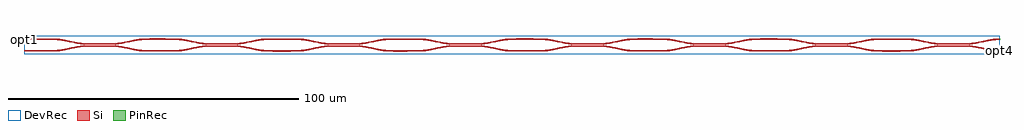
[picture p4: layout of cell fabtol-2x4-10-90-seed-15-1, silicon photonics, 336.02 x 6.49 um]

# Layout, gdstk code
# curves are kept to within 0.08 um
import gdstk
lib = gdstk.Library(unit=1e-6, precision=1e-09)
def R(c, l, rs):  # rectangles x0, y0, x1, y1
    for r in rs: c.add(gdstk.rectangle(r[:2], r[2:], *l))
def P(c, l, *ps):  # polygons
    for p in ps: c.add(gdstk.Polygon(p, *l))
Si = (1, 0)
PinRec = (1, 10)
DevRec = (68, 0)

layer_3_0_phase_sec_3_44 = lib.new_cell('layer-3_0_phase_sec_3$44')
P(layer_3_0_phase_sec_3_44, Si, [(1.539,-0.245),(0,-0.225),(0,0.225),(10,0.225),(10,-0.225)])

layer_3_0_phase_sec_2_44 = lib.new_cell('layer-3_0_phase_sec_2$44')
P(layer_3_0_phase_sec_2_44, Si, [(1.18,-0.235),(0,-0.225),(0,0.225),(10,0.225),(10,-0.225)])

layer_3_0_phase_sec_1_44 = lib.new_cell('layer-3_0_phase_sec_1$44')
P(layer_3_0_phase_sec_1_44, Si, [(1.449,-0.233),(0,-0.225),(0,0.225),(10,0.225),(10,-0.225)])

layer_3_0_phase_sec_0_44 = lib.new_cell('layer-3_0_phase_sec_0$44')
P(layer_3_0_phase_sec_0_44, Si, [(1.48,-0.244),(0,-0.225),(0,0.225),(10,0.225),(10,-0.225)])

layer_0_0_phase_sec_3_44 = lib.new_cell('layer-0_0_phase_sec_3$44')
P(layer_0_0_phase_sec_3_44, Si, [(3.383,-0.235),(0,-0.225),(0,0.225),(10,0.225),(10,-0.225)])

layer_1_0_phase_sec_0_44 = lib.new_cell('layer-1_0_phase_sec_0$44')
P(layer_1_0_phase_sec_0_44, Si, [(6.172,-0.232),(0,-0.225),(0,0.225),(10,0.225),(10,-0.225)])

dc_arm_down_44 = lib.new_cell('dc_arm_down$44')
R(dc_arm_down_44, Si, [(12,-0.55,20,-0.1)])
P(dc_arm_down_44, Si, [(32,-2.225),(30.861,-2.188),(29.344,-2.033),(22.966,-0.793),(21.481,-0.613),(20,-0.55),(20,-0.1),(21.139,-0.137),(22.656,-0.292),(29.034,-1.532),(30.519,-1.712),(32,-1.775)],
  [(0,-2.225),(0,-1.775),(1.481,-1.712),(2.966,-1.532),(9.344,-0.292),(10.861,-0.137),(12,-0.1),(12,-0.55),(10.519,-0.613),(9.034,-0.793),(2.656,-2.033),(1.139,-2.188)])

dc_arm_up_44 = lib.new_cell('dc_arm_up$44')
R(dc_arm_up_44, Si, [(12,0.1,20,0.55)])
P(dc_arm_up_44, Si, [(20,0.1),(20,0.55),(21.481,0.613),(22.966,0.793),(29.344,2.033),(30.861,2.188),(32,2.225),(32,1.775),(30.519,1.712),(29.034,1.532),(22.656,0.292),(21.139,0.137)],
  [(12,0.1),(10.861,0.137),(9.344,0.292),(2.966,1.532),(1.481,1.712),(0,1.775),(0,2.225),(1.139,2.188),(2.656,2.033),(9.034,0.793),(10.519,0.613),(12,0.55)])

dc_44 = lib.new_cell('dc$44')
dc_44.add(gdstk.Reference(dc_arm_down_44, (0,0)))
dc_44.add(gdstk.Reference(dc_arm_up_44, (0,0)))

layer_0_0_phase_sec_2_44 = lib.new_cell('layer-0_0_phase_sec_2$44')
P(layer_0_0_phase_sec_2_44, Si, [(4.019,-0.244),(0,-0.225),(0,0.225),(10,0.225),(10,-0.225)])

layer_1_0_phase_sec_1_44 = lib.new_cell('layer-1_0_phase_sec_1$44')
P(layer_1_0_phase_sec_1_44, Si, [(6.223,-0.247),(0,-0.225),(0,0.225),(10,0.225),(10,-0.225)])

layer_0_0_phase_sec_0_44 = lib.new_cell('layer-0_0_phase_sec_0$44')
P(layer_0_0_phase_sec_0_44, Si, [(1.347,-0.237),(0,-0.225),(0,0.225),(10,0.225),(10,-0.225)])

layer_1_0_phase_sec_2_44 = lib.new_cell('layer-1_0_phase_sec_2$44')
P(layer_1_0_phase_sec_2_44, Si, [(3.175,-0.231),(0,-0.225),(0,0.225),(10,0.225),(10,-0.225)])

layer_0_0_phase_sec_1_44 = lib.new_cell('layer-0_0_phase_sec_1$44')
P(layer_0_0_phase_sec_1_44, Si, [(2.4,-0.227),(0,-0.225),(0,0.225),(10,0.225),(10,-0.225)])

layer_1_0_phase_sec_3_44 = lib.new_cell('layer-1_0_phase_sec_3$44')
P(layer_1_0_phase_sec_3_44, Si, [(2.393,-0.245),(0,-0.225),(0,0.225),(10,0.225),(10,-0.225)])

layer_2_0_phase_sec_0_44 = lib.new_cell('layer-2_0_phase_sec_0$44')
P(layer_2_0_phase_sec_0_44, Si, [(2.947,-0.242),(0,-0.225),(0,0.225),(10,0.225),(10,-0.225)])

layer_2_0_phase_sec_1_44 = lib.new_cell('layer-2_0_phase_sec_1$44')
P(layer_2_0_phase_sec_1_44, Si, [(6.171,-0.234),(0,-0.225),(0,0.225),(10,0.225),(10,-0.225)])

layer_2_0_phase_sec_2_44 = lib.new_cell('layer-2_0_phase_sec_2$44')
P(layer_2_0_phase_sec_2_44, Si, [(1.301,-0.245),(0,-0.225),(0,0.225),(10,0.225),(10,-0.225)])

layer_2_0_phase_sec_3_44 = lib.new_cell('layer-2_0_phase_sec_3$44')
P(layer_2_0_phase_sec_3_44, Si, [(3.174,-0.233),(0,-0.225),(0,0.225),(10,0.225),(10,-0.225)])

fabtol_2x4_10_90_seed_15 = lib.new_cell('fabtol-2x4-10-90-seed-15-1')
R(fabtol_2x4_10_90_seed_15, DevRec, [(0,-1,336,5.492)])
fabtol_2x4_10_90_seed_15.add(gdstk.FlexPath([(335.99,0.247),(336.01,0.247)], 0.45, ends="flush", simple_path=True, layer=1, datatype=10))  # PinRec
fabtol_2x4_10_90_seed_15.add(gdstk.FlexPath([(335.99,4.247),(336.01,4.247)], 0.45, ends="flush", simple_path=True, layer=1, datatype=10))  # PinRec
fabtol_2x4_10_90_seed_15.add(gdstk.FlexPath([(0.01,4.247),(-0.01,4.247)], 0.45, ends="flush", simple_path=True, layer=1, datatype=10))  # PinRec
fabtol_2x4_10_90_seed_15.add(gdstk.Reference(layer_3_0_phase_sec_3_44, (294,0.247)))
fabtol_2x4_10_90_seed_15.add(gdstk.Reference(layer_3_0_phase_sec_2_44, (294,4.247)))
fabtol_2x4_10_90_seed_15.add(gdstk.Reference(layer_3_0_phase_sec_1_44, (252,0.247)))
fabtol_2x4_10_90_seed_15.add(gdstk.Reference(layer_3_0_phase_sec_0_44, (252,4.247)))
fabtol_2x4_10_90_seed_15.add(gdstk.Reference(layer_0_0_phase_sec_3_44, (42,0.247)))
fabtol_2x4_10_90_seed_15.add(gdstk.Reference(layer_1_0_phase_sec_0_44, (84,4.247)))
fabtol_2x4_10_90_seed_15.add(gdstk.Reference(dc_44, (10,2.247)))
fabtol_2x4_10_90_seed_15.add(gdstk.Reference(dc_44, (52,2.247)))
fabtol_2x4_10_90_seed_15.add(gdstk.Reference(dc_44, (94,2.247)))
fabtol_2x4_10_90_seed_15.add(gdstk.Reference(dc_44, (136,2.247)))
fabtol_2x4_10_90_seed_15.add(gdstk.Reference(dc_44, (178,2.247)))
fabtol_2x4_10_90_seed_15.add(gdstk.Reference(dc_44, (220,2.247)))
fabtol_2x4_10_90_seed_15.add(gdstk.Reference(dc_44, (262,2.247)))
fabtol_2x4_10_90_seed_15.add(gdstk.Reference(dc_44, (304,2.247)))
fabtol_2x4_10_90_seed_15.add(gdstk.Reference(layer_0_0_phase_sec_2_44, (42,4.247)))
fabtol_2x4_10_90_seed_15.add(gdstk.Reference(layer_1_0_phase_sec_1_44, (84,0.247)))
fabtol_2x4_10_90_seed_15.add(gdstk.Reference(layer_0_0_phase_sec_0_44, (0,4.247)))
fabtol_2x4_10_90_seed_15.add(gdstk.Reference(layer_1_0_phase_sec_2_44, (126,4.247)))
fabtol_2x4_10_90_seed_15.add(gdstk.Reference(layer_0_0_phase_sec_1_44, (0,0.247)))
fabtol_2x4_10_90_seed_15.add(gdstk.Reference(layer_1_0_phase_sec_3_44, (126,0.247)))
fabtol_2x4_10_90_seed_15.add(gdstk.Reference(layer_2_0_phase_sec_0_44, (168,4.247)))
fabtol_2x4_10_90_seed_15.add(gdstk.Reference(layer_2_0_phase_sec_1_44, (168,0.247)))
fabtol_2x4_10_90_seed_15.add(gdstk.Reference(layer_2_0_phase_sec_2_44, (210,4.247)))
fabtol_2x4_10_90_seed_15.add(gdstk.Reference(layer_2_0_phase_sec_3_44, (210,0.247)))
fabtol_2x4_10_90_seed_15.add(gdstk.Label('opt4', (336,0.247), layer=1, texttype=10))
fabtol_2x4_10_90_seed_15.add(gdstk.Label('opt3', (336,4.247), layer=1, texttype=10))
fabtol_2x4_10_90_seed_15.add(gdstk.Label('opt1', (0,4.247), layer=1, texttype=10))

lib.write_gds('fabtol-2x4-10-90-seed-15-1.gds')
